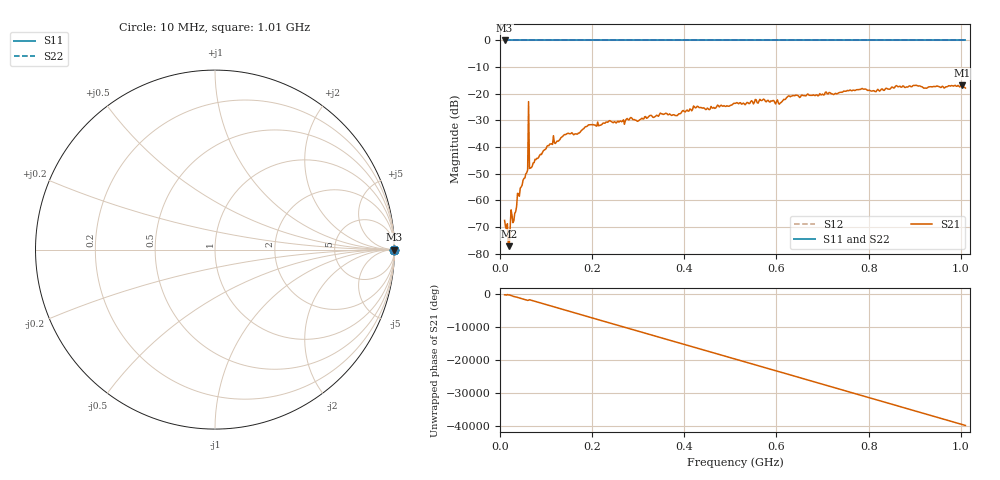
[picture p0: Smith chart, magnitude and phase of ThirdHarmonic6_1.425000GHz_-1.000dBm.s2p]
! 8/16/2025 4:24:31 PM
! C:\ANRITSUVNA\TEMP\TEMP.S2P
! CHANNEL.1
! TR.MEASUREMENT
! RAW.DATA
! RF.CORRECTION.OFF
! AVERAGING.OFF
! IF.BANDWIDTH: 5KHZ
! SWEEPTYPE:  FREQ.SWEEP(Linear)
! Reference Plane Port Info
! PORT:  PORT1  PORT2
! DISTANCE:  0  m  0  m
! TIME:  0  s  0  s
! PHASE.OFFSET:  0  deg.  0  deg.
! LOSS:  0  dB  0  dB
! REF.LOSS:  0  dB  0  dB
! REF.FREQ:  0  Hz  0  Hz
! Power Info
! POWER:  -20  dBm  -20  dBm
! EFF.POWER:  -20  dBm  -20  dBm
! SOURCE.ATTEN:  0  dB  0  dB
! TEST.ATTEN:  0  dB  0  dB
# GHZ S RI R 50.0
! FREQ.GHZ  S11RE  S11IM  S21RE  S21IM  S12RE  S12IM  S22RE  S22IM
!; PortSelection: Port_12
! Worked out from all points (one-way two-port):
!   501 points, 10 MHz to 1.01 GHz, reference 50 ohm
!   highest |S21| = -16.79 dB at 1.002 GHz (marker M1); lowest = -77.2 dB at 20 MHz (marker M2)
!   lowest |S11| = 0.0 dB at 10 MHz (marker M3)
!   |S11| at or under -10 dB: nowhere
!   |S22| runs from 0.0 to 0.0 dB; largest |S21 - S12| = 1.1
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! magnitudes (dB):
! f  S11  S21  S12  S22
! 10 MHz  0.0  -67.5  0.0  0.0
! 16 MHz  0.0  -68.7  0.0  0.0
! 20 MHz  0.0  -77.2  0.0  0.0
! 28 MHz  0.0  -68.3  0.0  0.0
! 32 MHz  0.0  -64.9  0.0  0.0
! 42 MHz  0.0  -58.4  0.0  0.0
! 56 MHz  0.0  -50.0  0.0  0.0
! 58 MHz  0.0  -49.7  0.0  0.0
! 60 MHz  0.0  -48.6  0.0  0.0
! 66 MHz  0.0  -47.8  0.0  0.0
! 68 MHz  0.0  -47.7  0.0  0.0
! 112 MHz  0.0  -38.8  0.0  0.0
! 178 MHz  0.0  -33.6  0.0  0.0
! 196 MHz  0.0  -31.6  0.0  0.0
! 344 MHz  0.0  -28.4  0.0  0.0
! 510 MHz  0.0  -23.6  0.0  0.0
! 608 MHz  0.0  -23.5  0.0  0.0
! 628 MHz  0.0  -20.8  0.0  0.0
! 678 MHz  0.0  -20.6  0.0  0.0
! 844 MHz  0.0  -18.3  0.0  0.0
! 1.002 GHz  0.0  -16.8  0.0  0.0
! 1.01 GHz  0.0  -17.9  0.0  0.0
